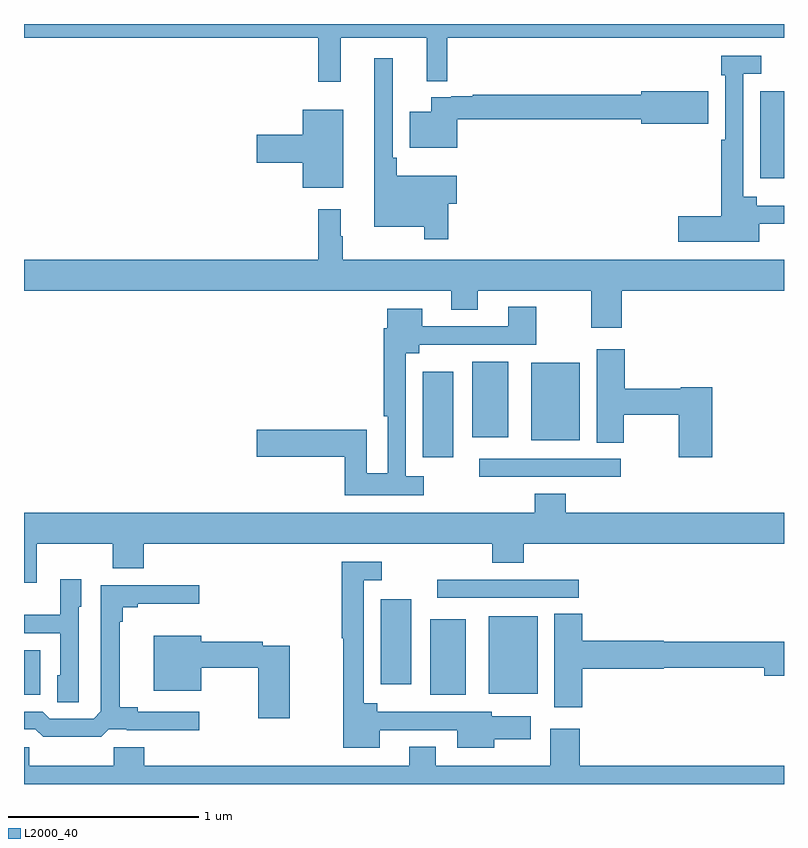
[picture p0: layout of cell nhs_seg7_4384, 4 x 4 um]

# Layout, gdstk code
import gdstk
lib = gdstk.Library(unit=1e-6, precision=1e-09)
def R(c, l, rs):  # rectangles x0, y0, x1, y1
    for r in rs: c.add(gdstk.rectangle(r[:2], r[2:], *l))
def P(c, l, *ps):  # polygons
    for p in ps: c.add(gdstk.Polygon(p, *l))
L2000_40 = (2000, 40)

nhs_seg7_4384 = lib.new_cell('nhs_seg7_4384')
R(nhs_seg7_4384, L2000_40, [(387,1018.469,387.085,1018.705), (389.138,1018.469,389.326,1018.867), (389.447,1018.475,389.704,1018.882), (388.877,1018.524,389.038,1018.972), (389.175,1018.98,389.92,1019.076), (389.397,1019.616,390.142,1019.712), (389.099,1019.721,389.26,1020.169), (389.669,1019.81,389.926,1020.217), (389.36,1019.825,389.548,1020.223), (390.875,1021.188,391,1021.645)])
P(nhs_seg7_4384, L2000_40, [(388.667,1021.928),(389.12,1021.928),(389.12,1021.699),(389.228,1021.699),(389.228,1021.928),(391,1021.928),(391,1022),(387,1022),(387,1021.928),(388.549,1021.928),(388.549,1021.695),(388.667,1021.695)],
  [(390.871,1020.948),(391,1020.948),(391,1021.044),(390.856,1021.044),(390.856,1021.09),(390.786,1021.09),(390.786,1021.737),(390.88,1021.737),(390.88,1021.833),(390.67,1021.833),(390.67,1021.73),(390.69,1021.73),(390.69,1021.391),(390.67,1021.391),(390.67,1020.989),(390.444,1020.989),(390.444,1020.854),(390.871,1020.854)],
  [(389.234,1021.054),(389.278,1021.054),(389.278,1021.201),(388.961,1021.201),(388.961,1021.297),(388.941,1021.297),(388.941,1021.819),(388.844,1021.819),(388.844,1020.932),(389.106,1020.932),(389.106,1020.867),(389.234,1020.867)],
  [(389.279,1021.498),(390.248,1021.498),(390.248,1021.475),(390.601,1021.475),(390.601,1021.645),(390.248,1021.645),(390.248,1021.627),(389.362,1021.627),(389.362,1021.62),(389.248,1021.62),(389.248,1021.614),(389.144,1021.614),(389.144,1021.537),(389.03,1021.537),(389.03,1021.349),(389.279,1021.349)],
  [(388.681,1021.549),(388.466,1021.549),(388.466,1021.418),(388.224,1021.418),(388.224,1021.271),(388.466,1021.271),(388.466,1021.139),(388.681,1021.139)],
  [(390.146,1020.596),(391,1020.596),(391,1020.76),(388.678,1020.76),(388.678,1020.884),(388.666,1020.884),(388.666,1021.024),(388.549,1021.024),(388.549,1020.76),(387,1020.76),(387,1020.596),(389.249,1020.596),(389.249,1020.497),(389.389,1020.497),(389.389,1020.596),(389.986,1020.596),(389.986,1020.402),(390.146,1020.402)],
  [(389.104,1019.62),(389.01,1019.62),(389.01,1020.266),(389.08,1020.266),(389.08,1020.312),(389.697,1020.312),(389.697,1020.511),(389.549,1020.511),(389.549,1020.408),(389.095,1020.408),(389.095,1020.502),(388.913,1020.502),(388.913,1020.398),(388.894,1020.398),(388.894,1019.935),(388.914,1019.935),(388.914,1019.636),(388.803,1019.636),(388.803,1019.864),(388.224,1019.864),(388.224,1019.722),(388.687,1019.722),(388.687,1019.52),(389.104,1019.52)],
  [(390.623,1020.088),(390.456,1020.088),(390.456,1020.08),(390.161,1020.08),(390.161,1020.289),(390.014,1020.289),(390.014,1019.797),(390.156,1019.797),(390.156,1019.944),(390.445,1019.944),(390.445,1019.721),(390.623,1019.721)],
  [(387.067,1019.264),(387.467,1019.264),(387.467,1019.136),(387.631,1019.136),(387.631,1019.264),(389.465,1019.264),(389.465,1019.165),(389.63,1019.165),(389.63,1019.264),(391,1019.264),(391,1019.428),(389.852,1019.428),(389.852,1019.527),(389.687,1019.527),(389.687,1019.428),(387,1019.428),(387,1019.058),(387.067,1019.058)],
  [(388.873,1018.284),(389.279,1018.284),(389.279,1018.19),(389.475,1018.19),(389.475,1018.235),(389.668,1018.235),(389.668,1018.357),(389.463,1018.357),(389.463,1018.38),(388.858,1018.38),(388.858,1018.426),(388.788,1018.426),(388.788,1019.073),(388.882,1019.073),(388.882,1019.169),(388.672,1019.169),(388.672,1018.766),(388.68,1018.766),(388.68,1018.19),(388.873,1018.19)],
  [(387.288,1018.932),(387.301,1018.932),(387.301,1019.077),(387.192,1019.077),(387.192,1018.891),(387,1018.891),(387,1018.794),(387.192,1018.794),(387.192,1018.572),(387.176,1018.572),(387.176,1018.429),(387.288,1018.429)],
  [(387.447,1018.287),(387.541,1018.287),(387.541,1018.283),(387.922,1018.283),(387.922,1018.38),(387.598,1018.38),(387.598,1018.403),(387.503,1018.403),(387.503,1018.853),(387.521,1018.853),(387.521,1018.93),(387.598,1018.93),(387.598,1018.949),(387.922,1018.949),(387.922,1019.046),(387.405,1019.046),(387.405,1018.383),(387.366,1018.344),(387.135,1018.344),(387.099,1018.38),(387,1018.38),(387,1018.287),(387.06,1018.287),(387.1,1018.248),(387.407,1018.248)],
  [(389.939,1018.607),(390.366,1018.607),(390.366,1018.612),(390.896,1018.612),(390.896,1018.57),(391,1018.57),(391,1018.748),(390.366,1018.748),(390.366,1018.754),(389.939,1018.754),(389.939,1018.895),(389.792,1018.895),(389.792,1018.404),(389.939,1018.404)],
  [(388.398,1018.728),(388.256,1018.728),(388.256,1018.748),(387.934,1018.748),(387.934,1018.78),(387.683,1018.78),(387.683,1018.49),(387.934,1018.49),(387.934,1018.612),(388.232,1018.612),(388.232,1018.347),(388.398,1018.347)],
  [(389.771,1018.096),(389.167,1018.096),(389.167,1018.195),(389.027,1018.195),(389.027,1018.096),(387.632,1018.096),(387.632,1018.194),(387.472,1018.194),(387.472,1018.096),(387.027,1018.096),(387.027,1018.194),(387,1018.194),(387,1018),(391,1018),(391,1018.096),(389.924,1018.096),(389.924,1018.291),(389.771,1018.291)])

lib.write_gds('nhs_seg7_4384.gds')
